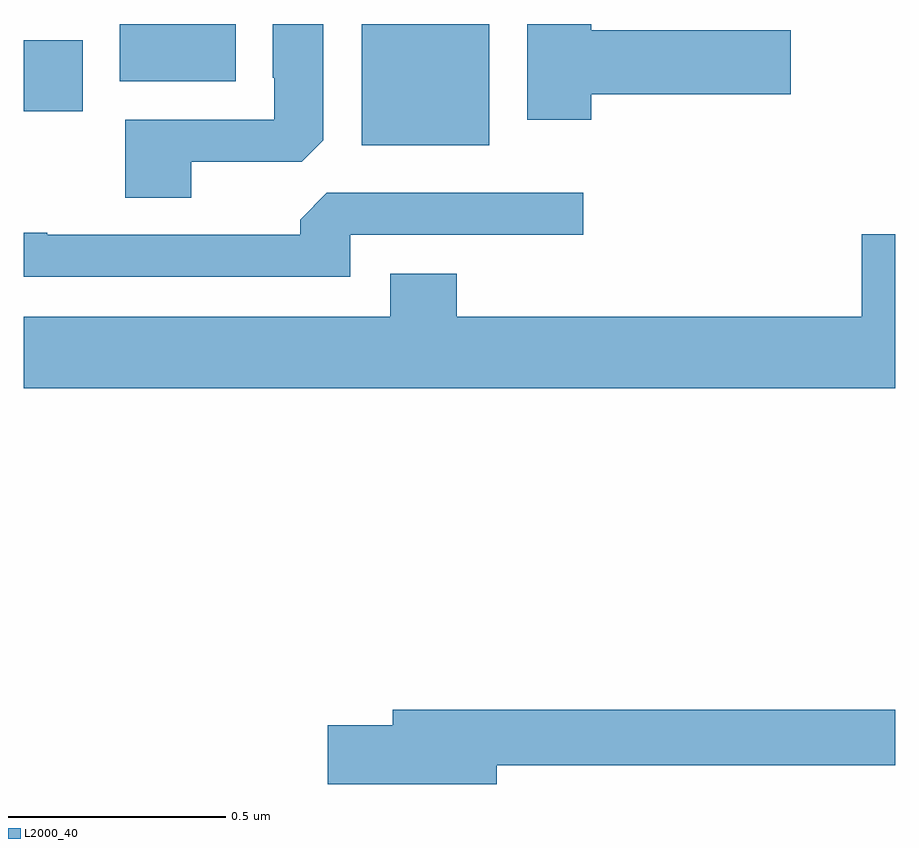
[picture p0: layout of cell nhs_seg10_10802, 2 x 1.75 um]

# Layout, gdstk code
import gdstk
lib = gdstk.Library(unit=1e-6, precision=1e-09)
def R(c, l, rs):  # rectangles x0, y0, x1, y1
    for r in rs: c.add(gdstk.rectangle(r[:2], r[2:], *l))
def P(c, l, *ps):  # polygons
    for p in ps: c.add(gdstk.Polygon(p, *l))
L2000_40 = (2000, 40)

nhs_seg10_10802 = lib.new_cell('nhs_seg10_10802')
R(nhs_seg10_10802, L2000_40, [(247.775,1286.222,248.068,1286.5), (247,1286.3,247.135,1286.463), (247.22,1286.369,247.486,1286.5)])
P(nhs_seg10_10802, L2000_40, [(248.303,1286.339),(248.761,1286.339),(248.761,1286.486),(248.303,1286.486),(248.303,1286.5),(248.156,1286.5),(248.156,1286.28),(248.303,1286.28)],
  [(247.384,1286.184),(247.638,1286.184),(247.687,1286.233),(247.687,1286.5),(247.571,1286.5),(247.571,1286.377),(247.575,1286.377),(247.575,1286.28),(247.232,1286.28),(247.232,1286.101),(247.384,1286.101)],
  [(247.749,1286.016),(248.284,1286.016),(248.284,1286.112),(247.695,1286.112),(247.634,1286.05),(247.634,1286.016),(247.054,1286.016),(247.054,1286.021),(247,1286.021),(247,1285.92),(247.749,1285.92)],
  [(249,1286.017),(248.924,1286.017),(248.924,1285.828),(247.994,1285.828),(247.994,1285.927),(247.841,1285.927),(247.841,1285.828),(247,1285.828),(247,1285.664),(249,1285.664)],
  [(248.086,1284.798),(249,1284.798),(249,1284.926),(247.847,1284.926),(247.847,1284.89),(247.698,1284.89),(247.698,1284.755),(248.086,1284.755)])

lib.write_gds('nhs_seg10_10802.gds')
